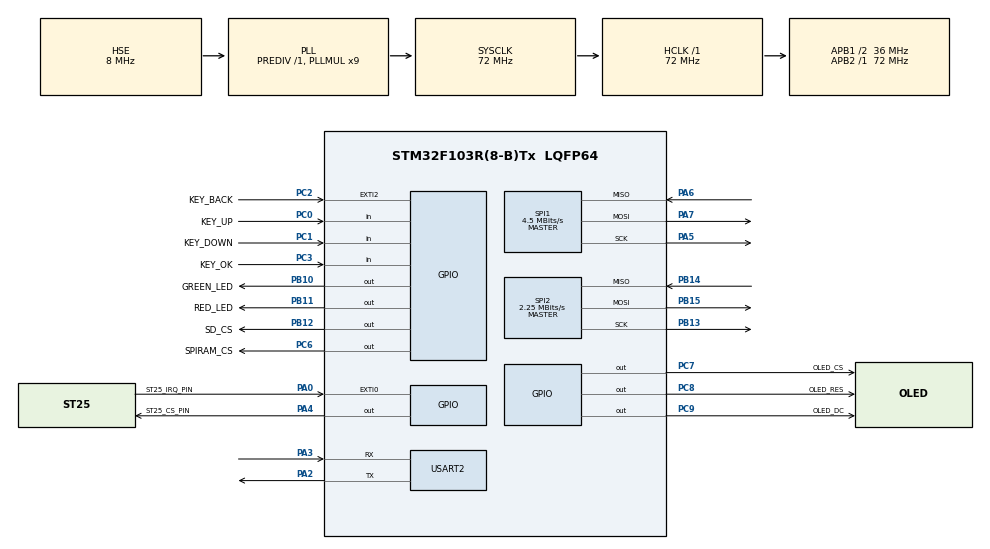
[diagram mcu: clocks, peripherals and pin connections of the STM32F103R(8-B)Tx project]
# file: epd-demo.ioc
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FATFS._CODE_PAGE=1252
FATFS._MAX_SS=512
FATFS._MIN_SS=512
FATFS._USE_LFN=1
Mcu.Family=STM32F1
Mcu.Name=STM32F103R(8-B)Tx
Mcu.Package=LQFP64
NVIC.EXTI0_IRQn=true\:0\:0\:false\:false\:true\:true\:true
NVIC.EXTI2_IRQn=true\:1\:0\:true\:false\:true\:true\:true
NVIC.PriorityGroup=NVIC_PRIORITYGROUP_4
NVIC.TIM3_IRQn=true\:0\:0\:false\:false\:true\:true\:true
PA0-WKUP.GPIO_Label=ST25_IRQ_PIN
PA0-WKUP.Signal=GPXTI0
PA13.Mode=Serial_Wire
PA13.Signal=SYS_JTMS-SWDIO
PA14.Mode=Serial_Wire
PA14.Signal=SYS_JTCK-SWCLK
PA2.Mode=Asynchronous
PA2.Signal=USART2_TX
PA3.Mode=Asynchronous
PA3.Signal=USART2_RX
PA4.GPIO_Label=ST25_CS_PIN
PA4.GPIO_PuPd=GPIO_PULLUP
PA4.GPIO_Speed=GPIO_SPEED_FREQ_HIGH
PA4.Signal=GPIO_Output
PA5.Mode=Full_Duplex_Master
PA5.Signal=SPI1_SCK
PA6.Mode=Full_Duplex_Master
PA6.Signal=SPI1_MISO
PA7.Mode=Full_Duplex_Master
PA7.Signal=SPI1_MOSI
PB10.GPIO_Label=GREEN_LED
PB10.GPIO_PuPd=GPIO_PULLDOWN
PB10.PinState=GPIO_PIN_RESET
PB10.Signal=GPIO_Output
PB11.GPIO_Label=RED_LED
PB11.GPIO_PuPd=GPIO_PULLDOWN
PB11.Signal=GPIO_Output
PB12.GPIO_Label=SD_CS
PB12.GPIO_PuPd=GPIO_PULLUP
PB12.GPIO_Speed=GPIO_SPEED_FREQ_HIGH
PB12.PinState=GPIO_PIN_SET
PB12.Signal=GPIO_Output
PB13.Mode=Full_Duplex_Master
PB13.Signal=SPI2_SCK
PB14.Mode=Full_Duplex_Master
PB14.Signal=SPI2_MISO
PB15.Mode=Full_Duplex_Master
PB15.Signal=SPI2_MOSI
PC0.GPIO_Label=KEY_UP
PC0.GPIO_PuPd=GPIO_PULLUP
PC0.Signal=GPIO_Input
PC1.GPIO_Label=KEY_DOWN
PC1.GPIO_PuPd=GPIO_PULLUP
PC1.Signal=GPIO_Input
PC2.GPIO_Label=KEY_BACK
PC2.GPIO_ModeDefaultEXTI=GPIO_MODE_IT_FALLING
PC2.GPIO_PuPd=GPIO_PULLUP
PC2.Signal=GPXTI2
PC3.GPIO_Label=KEY_OK
PC3.GPIO_PuPd=GPIO_PULLUP
PC3.Signal=GPIO_Input
PC6.GPIO_Label=SPIRAM_CS
PC6.GPIO_PuPd=GPIO_PULLUP
PC6.GPIO_Speed=GPIO_SPEED_FREQ_HIGH
PC6.PinState=GPIO_PIN_SET
PC6.Signal=GPIO_Output
PC7.GPIO_Label=OLED_CS
PC7.GPIO_PuPd=GPIO_PULLUP
PC7.GPIO_Speed=GPIO_SPEED_FREQ_HIGH
PC7.PinState=GPIO_PIN_SET
PC7.Signal=GPIO_Output
PC8.GPIO_Label=OLED_RES
PC8.GPIO_PuPd=GPIO_PULLUP
PC8.GPIO_Speed=GPIO_SPEED_FREQ_LOW
PC8.PinState=GPIO_PIN_RESET
PC8.Signal=GPIO_Output
PC9.GPIO_Label=OLED_DC
PC9.GPIO_Speed=GPIO_SPEED_FREQ_HIGH
PC9.PinState=GPIO_PIN_RESET
PC9.Signal=GPIO_Output
PD0-OSC_IN.Mode=HSE-External-Oscillator
PD0-OSC_IN.Signal=RCC_OSC_IN
PD1-OSC_OUT.Mode=HSE-External-Oscillator
PD1-OSC_OUT.Signal=RCC_OSC_OUT
ProjectManager.HeapSize=0x400
ProjectManager.StackSize=0x800
ProjectManager.TargetToolchain=MDK-ARM V5
RCC.AHBFreq_Value=72000000
RCC.APB1CLKDivider=RCC_HCLK_DIV2
RCC.APB1Freq_Value=36000000
RCC.APB1TimFreq_Value=72000000
RCC.APB2Freq_Value=72000000
RCC.APB2TimFreq_Value=72000000
RCC.HCLKFreq_Value=72000000
RCC.PLLMUL=RCC_PLL_MUL9
RCC.PLLSourceVirtual=RCC_PLLSOURCE_HSE
RCC.SYSCLKFreq_VALUE=72000000
RCC.SYSCLKSource=RCC_SYSCLKSOURCE_PLLCLK
RCC.USBFreq_Value=72000000
SPI1.BaudRatePrescaler=SPI_BAUDRATEPRESCALER_16
SPI1.CLKPhase=SPI_PHASE_2EDGE
SPI1.CalculateBaudRate=4.5 MBits/s
SPI1.Direction=SPI_DIRECTION_2LINES
SPI1.Mode=SPI_MODE_MASTER
SPI1.VirtualType=VM_MASTER
SPI2.BaudRatePrescaler=SPI_BAUDRATEPRESCALER_16
SPI2.CalculateBaudRate=2.25 MBits/s
SPI2.Direction=SPI_DIRECTION_2LINES
SPI2.Mode=SPI_MODE_MASTER
SPI2.VirtualType=VM_MASTER
TIM3.AutoReloadPreload=TIM_AUTORELOAD_PRELOAD_ENABLE
TIM3.Period=3999
TIM3.Prescaler=7199
USART2.VirtualMode=VM_ASYNC
VP_FATFS_VS_Generic.Mode=User_defined
VP_TIM3_VS_ClockSourceINT.Mode=Internal
board=epd1in54

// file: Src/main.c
/* USER CODE BEGIN Header */
/**
  ******************************************************************************
  * @file           : main.c
  * @brief          : Main program body
  ******************************************************************************
  * @attention
  *
  * <h2><center>&copy; Copyright (c) 2019 STMicroelectronics.
  * All rights reserved.</center></h2>
  *
  * This software component is licensed by ST under Ultimate Liberty license
  * SLA0044, the "License"; You may not use this file except in compliance with
  * the License. You may obtain a copy of the License at:
  *                             www.st.com/SLA0044
  *
  ******************************************************************************
  */
/* USER CODE END Header */

#include "main.h"
#include "fatfs.h"
#include "spi.h"
#include "tim.h"
#include "usart.h"
#include "gpio.h"

/* USER CODE BEGIN Includes */
#include "SD_Card_APP.h"
#include "SSD1306.h"
#include "Fonts.h"
#include "Browser.h"
#include "logger.h"
#include "st_errno.h"
#include "rfal_rf.h"
#include "rfal_analogConfig.h"
/* USER CODE END Includes */

/* USER CODE BEGIN PV */
/* Private variables ---------------------------------------------------------*/

/* USER CODE END PV */

void SystemClock_Config(void);
/* USER CODE BEGIN PFP */
/* Private function prototypes -----------------------------------------------*/

/* USER CODE END PFP */

/* USER CODE BEGIN 0 */
	extern char filename[20][20];
	extern uint8_t file_num;

int GetCompileDateTime(void)
{
       const int  MONTH_PER_YEAR=12;
       const char szEnglishMonth[MONTH_PER_YEAR][4]={ "Jan","Feb","Mar","Apr","May","Jun","Jul","Aug","Sep","Oct","Nov","Dec"};
       char szTmpDate[40]={0};
       char szTmpTime[20]={0};
       char szMonth[4]={0};
       int iYear,iMonth,iDay,iHour,iMin,iSec;//,,

       //��ȡ�������ڡ�ʱ��
       sprintf(szTmpDate,"%s",__DATE__); //"Sep 18 2010"
       sprintf(szTmpTime,"%s",__TIME__);   //"10:59:19"

			 printf("%s \r\n",__DATE__);
			 printf("%s \r\n",__TIME__);

			 printf("xx = %x %x %x \r\n",(__TIME__[0]-'0')*16+(__TIME__[1]-'0'),(__TIME__[3]-'0')*16+(__TIME__[4]-'0'),(__TIME__[6]-'0')*16+(__TIME__[7]-'0'));
       sscanf(szTmpDate,"%s %d %d",szMonth,&iDay,&iYear);
       sscanf(szTmpTime,"%d:%d:%d",&iHour,&iMin,&iSec);

       for(int i=0;MONTH_PER_YEAR;i++)
       {
               if(strncmp(szMonth,szEnglishMonth[i],3)==0)
               {
                       iMonth=i+1;
                       break;
               }
       }

       //printf("%d,%d,%d,%d,%d,%d\n",iYear,iMonth,iDay,iHour,iMin,iSec);
       //sprintf(szDateTime,"dddddd",iYear,iMonth,iDay,iHour,iMin,iSec);
			 printf ("iMonth = %d\r\n",(iMonth/10)*16+iMonth%10);
       return iMonth;
}
/* USER CODE END 0 */

int main(void)
{

  /* MCU Configuration--------------------------------------------------------*/

  /* Reset of all peripherals, Initializes the Flash interface and the Systick. */
  HAL_Init();

  /* Configure the system clock */
  SystemClock_Config();

  /* Initialize all configured peripherals */
  MX_GPIO_Init();
  MX_USART2_UART_Init();
  MX_FATFS_Init();
  MX_SPI2_Init();
  MX_SPI1_Init();
  MX_TIM3_Init();
  /* USER CODE BEGIN 2 */
	SpiInit(&hspi1);
	printf("Hello\r\n");
	/* Initalize RFAL */
  rfalAnalogConfigInitialize();
	/* Initalize OLED */
	ssd1306_init();
//	GetCompileDateTime();
	/* Initalize SD Card */
	while(1)
	{
		if(!SDCard_Init()){
			LED_RED_1;
			ssd1306_display_string(26, 16,"SD Card Error!", 12, 1);
			ssd1306_display_string(0,28,"Please press any key to try again.", 12, 1);
			ssd1306_refresh_gram();
		}else {
			LED_RED_0;
			break;
		}
		while(!ReadKey());
	}

	if( rfalInitialize() != ERR_NONE )
  {
    /*
    * in case the rfal initalization failed signal it by flashing all LED
    * and stoping all operations
    */
    printf("RFAL initialization failed..\r\n");
    while(1)
    {
      DEV_Delay_ms(100);
    }
  }
  else
  {
    printf("RFAL initialization succeeded..\r\n");
      DEV_Delay_ms(200);

  }
	/**************Save file name ,return file number**************/
	file_num = Browser_save_fileame("0:");
  /* USER CODE END 2 */

  /* Infinite loop */
  /* USER CODE BEGIN WHILE */
    while (1) {
		/* Run RFAL Worker */
			rfalWorker();
		/* OLED Display*/
			Browser_display();
    /* USER CODE END WHILE */

    }
}

void SystemClock_Config(void)
{
  RCC_OscInitTypeDef RCC_OscInitStruct = {0};
  RCC_ClkInitTypeDef RCC_ClkInitStruct = {0};

  /** Initializes the CPU, AHB and APB busses clocks
  */
  RCC_OscInitStruct.OscillatorType = RCC_OSCILLATORTYPE_HSE;
  RCC_OscInitStruct.HSEState = RCC_HSE_ON;
  RCC_OscInitStruct.HSEPredivValue = RCC_HSE_PREDIV_DIV1;
  RCC_OscInitStruct.HSIState = RCC_HSI_ON;
  RCC_OscInitStruct.PLL.PLLState = RCC_PLL_ON;
  RCC_OscInitStruct.PLL.PLLSource = RCC_PLLSOURCE_HSE;
  RCC_OscInitStruct.PLL.PLLMUL = RCC_PLL_MUL9;
  if (HAL_RCC_OscConfig(&RCC_OscInitStruct) != HAL_OK)
  {
    Error_Handler();
  }
  /** Initializes the CPU, AHB and APB busses clocks
  */
  RCC_ClkInitStruct.ClockType = RCC_CLOCKTYPE_HCLK|RCC_CLOCKTYPE_SYSCLK
                              |RCC_CLOCKTYPE_PCLK1|RCC_CLOCKTYPE_PCLK2;
  RCC_ClkInitStruct.SYSCLKSource = RCC_SYSCLKSOURCE_PLLCLK;
  RCC_ClkInitStruct.AHBCLKDivider = RCC_SYSCLK_DIV1;
  RCC_ClkInitStruct.APB1CLKDivider = RCC_HCLK_DIV2;
  RCC_ClkInitStruct.APB2CLKDivider = RCC_HCLK_DIV1;

  if (HAL_RCC_ClockConfig(&RCC_ClkInitStruct, FLASH_LATENCY_2) != HAL_OK)
  {
    Error_Handler();
  }
}

void Error_Handler(void)
{
    while(1) {
    }
}

/************************ (C) COPYRIGHT STMicroelectronics *****END OF FILE****/
